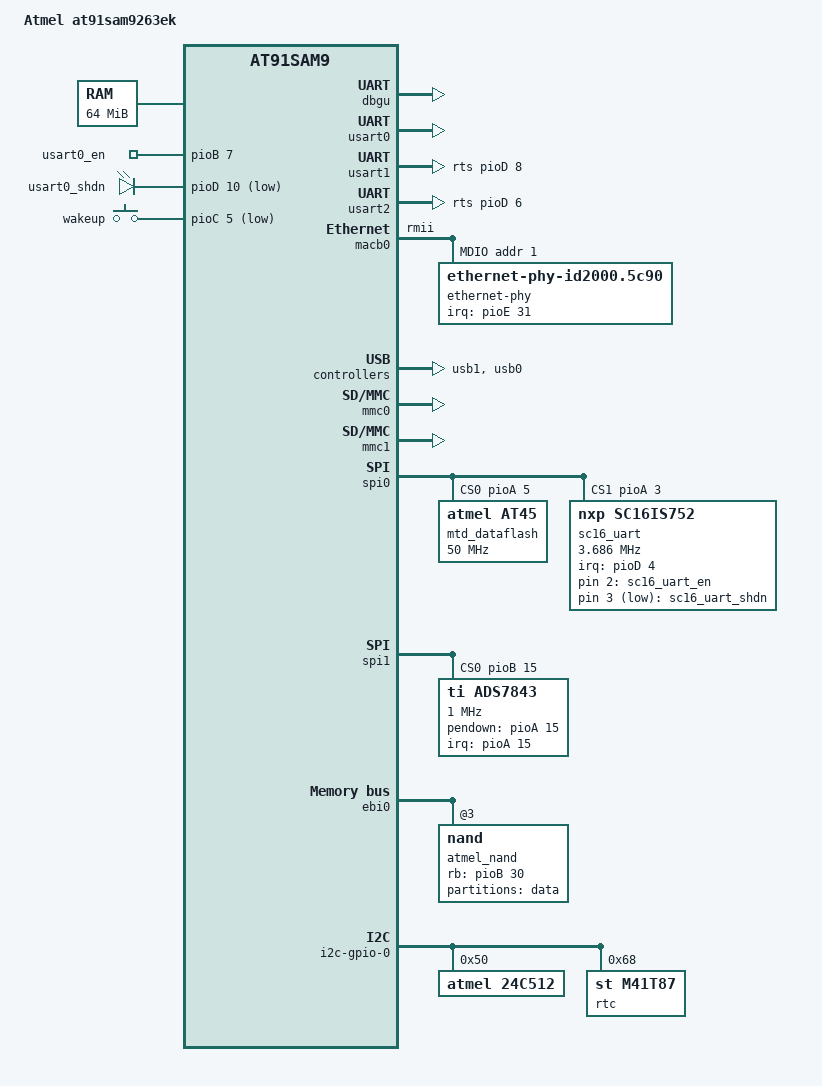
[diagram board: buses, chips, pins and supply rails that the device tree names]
// SPDX-License-Identifier: GPL-2.0-only
/*
 * at91sam9263ek.dts - Device Tree file for Atmel at91sam9263 reference board
 *
 *  Copyright (C) 2012 Jean-Christophe PLAGNIOL-VILLARD <plagnioj@jcrosoft.com>
 */
/dts-v1/;
#include "at91sam9263.dtsi"

/ {
	model = "Atmel at91sam9263ek";
	compatible = "atmel,at91sam9263ek", "atmel,at91sam9263", "atmel,at91sam9";

	chosen {
		bootargs = "mem=64M root=/dev/mtdblock5 rw rootfstype=ubifs";
		stdout-path = "serial0:115200n8";
	};

	memory@20000000 {
		reg = <0x20000000 0x4000000>;
	};

	clocks {
		slow_xtal {
			clock-frequency = <32768>;
		};

		main_xtal {
			clock-frequency = <18432000>;
		};
	};

	ahb {
		apb {
			dbgu: serial@ffffee00 {
				status = "okay";
			};

			tcb0: timer@fff7c000 {
				timer@0 {
					compatible = "atmel,tcb-timer";
					reg = <0>, <1>;
				};

				timer@2 {
					compatible = "atmel,tcb-timer";
					reg = <2>;
				};
			};

			usart0: serial@fff8c000 {
				pinctrl-0 = <
					&pinctrl_usart0
					&pinctrl_usart0_rts
					&pinctrl_usart0_cts>;
				status = "okay";
			};

			usart1: serial@fff90000 {
				pinctrl-0 = <
					&pinctrl_usart1
					&pinctrl_usart1_rts>;
				rts-gpios = <&pioD 8 GPIO_ACTIVE_HIGH>;
				linux,rs485-enabled-at-boot-time;
				status = "okay";
			};

			usart2: serial@fff94000 {
				pinctrl-0 = <
					&pinctrl_usart2
					&pinctrl_usart2_rts>;
				rts-gpios = <&pioD 6 GPIO_ACTIVE_HIGH>;
				linux,rs485-enabled-at-boot-time;
				status = "okay";
			};
			macb0: ethernet@fffbc000 {
				phy-mode = "rmii";
				status = "okay";

				mdio {
					#address-cells = <1>;
					#size-cells = <0>;

					ethernet-phy@1 {
						reg = <1>;
						compatible = "ethernet-phy-id2000.5c90";
						interrupt-parent = <&pioE>;
						interrupts = <31 IRQ_TYPE_EDGE_FALLING>;
					};
				};
			};

			usb1: gadget@fff78000 {
				atmel,vbus-gpio = <&pioA 25 GPIO_ACTIVE_HIGH>;
				status = "okay";
			};

			mmc0: mmc@fff80000 {
				pinctrl-0 = <
					&pinctrl_board_mmc0
					&pinctrl_mmc0_clk
					&pinctrl_mmc0_slot1_cmd_dat0
					&pinctrl_mmc0_slot1_dat1_3>;
				status = "okay";
				slot@1 {
					reg = <1>;
					bus-width = <4>;
					cd-gpios = <&pioA 21 GPIO_ACTIVE_LOW>;
				};
			};

			pinctrl@fffff200 {
				mmc0 {
					pinctrl_board_mmc0: mmc0-board {
						atmel,pins =
							<AT91_PIOA 21 AT91_PERIPH_GPIO AT91_PINCTRL_PULL_UP_DEGLITCH>;	/* PA21 gpio CD pin pull up and deglitch */
					};
				};

				mmc1 {
					pinctrl_board_mmc1: mmc1-board {
						atmel,pins =
							<AT91_PIOE 22 AT91_PERIPH_GPIO AT91_PINCTRL_PULL_UP_DEGLITCH>;	/* PE22 gpio CD pin pull up and deglitch */
					};
				};

				spi1 {
					pinctrl_ads7843: ads7843-0 {
						atmel,pins =
							<AT91_PIOA 15 AT91_PERIPH_GPIO 0>;	/* PA15 IRQ1 pin */
					};
				};

				i2c-gpio-0 {
					pinctrl_wd_aux: wd-0 {
						atmel,pins =
							<AT91_PIOD 14 AT91_PERIPH_GPIO 0>;	/* PD14 WD output GPIO */
					};
				};
			};

			mmc1: mmc@fff84000 {
				pinctrl-0 = <
					&pinctrl_board_mmc1
					&pinctrl_mmc1_clk
					&pinctrl_mmc1_slot0_cmd_dat0
					&pinctrl_mmc1_slot0_dat1_3>;
				status = "okay";
				slot@0 {
					reg = <0>;
					bus-width = <4>;
					cd-gpios = <&pioE 22 GPIO_ACTIVE_LOW>;
				};
			};

			spi0: spi@fffa4000 {
				status = "okay";
				cs-gpios = <&pioA 5 0>, <&pioA 3 0>, <0>, <0>;
				mtd_dataflash@0 {
					compatible = "atmel,at45", "atmel,dataflash";
					spi-max-frequency = <50000000>;
					reg = <0>;
				};

				sc16_uart: sc16is750@1 {
					compatible = "nxp,sc16is752";
					reg = <1>;
					interrupt-parent = <&pioD>;
					interrupts = <4 IRQ_TYPE_EDGE_FALLING>;
					clock-frequency = <3686400>;
					gpio-controller;
					#gpio-cells = <2>;
				};
			};

			spi1: spi@fffa8000 {
				status = "okay";
				cs-gpios = <&pioB 15 0>, <0>, <0>, <0>;
				ads7843@0 {
					reg = <0>;	/* CS0 */
					compatible = "ti,ads7843";
					pinctrl-0 = <&pinctrl_ads7843>;
					interrupt-parent = <&pioA>;
					interrupts = <15 IRQ_TYPE_EDGE_FALLING>;
					//interrupts = <31 IRQ_TYPE_EDGE_FALLING 0>;
					spi-max-frequency = <1000000>;
					pendown-gpio = <&pioA 15 GPIO_ACTIVE_HIGH>;
					ti,vref-mv = /bits/ 16 <3300>;
					/* ti,x-min = /bits/ 16 <0>;
					ti,x-max = /bits/ 16 <320>;
					ti,y-min = /bits/ 16 <0>;
					ti,y-max = /bits/ 16 <240>; */
					ti,x-plate-ohms = /bits/ 16 <600>;
					ti,pressure-max = /bits/ 16 <255>;
					/* ti,debounce-max = /bits/ 16 <10>;
					ti,debounce-tol = /bits/ 16 <3>;
					ti,debounce-rep = /bits/ 16 <1>;
					ti,settle-delay-usec = /bits/ 16 <150>;
					ti,penirq-recheck-delay-usecs = /bits/ 16 <1>; */

					wakeup-source;
				};
			};

			watchdog@fffffd40 {
				status = "okay";
			};
		};

		fb0: fb@700000 {
			display = <&display0>;
			status = "okay";

			display0: panel {
				bits-per-pixel = <16>;
				atmel,lcdcon-backlight;
				atmel,dmacon = <0x1>;
				atmel,lcdcon2 = <0x80009802>;
				atmel,guard-time = <1>;

				display-timings {
					native-mode = <&timing0>;
					timing0: timing0 {
						clock-frequency = <6500000>;
						hactive = <320>;
						vactive = <240>;
						hback-porch = <8>;
						hfront-porch = <20>;
						vback-porch = <16>;
						vfront-porch = <4>;
						hsync-len = <60>;
						vsync-len = <2>;
						pixelclk-active = <1>;
						hsync-active = <1>;
						vsync-active = <1>;
						de-active = <1>;
					};
				};
			};
		};

		ebi0: ebi@10000000 {
			status = "okay";

			nand_controller: nand-controller {
				status = "okay";
				pinctrl-0 = <&pinctrl_nand_cs &pinctrl_nand_rb>;
				pinctrl-names = "default";

				nand@3 {
					reg = <0x3 0x0 0x800000>;
					rb-gpios = <&pioB 30 GPIO_ACTIVE_HIGH>;
					cs-gpios = <&pioD 15 GPIO_ACTIVE_HIGH>;
					nand-bus-width = <8>;
					nand-ecc-mode = "soft";
					nand-on-flash-bbt;
					label = "atmel_nand";

					partitions {
						compatible = "fixed-partitions";
						#address-cells = <1>;
						#size-cells = <1>;

						data@0 {
							label = "data";
							reg = <0x0 0x10000000>;
						};
					};
				};
			};
		};

		usb0: ohci@a00000 {
			num-ports = <2>;
			status = "okay";
			atmel,vbus-gpio = <&pioB 1 GPIO_ACTIVE_LOW
					   &pioB 3 GPIO_ACTIVE_LOW
					  >;
			atmel,oc-gpio = <&pioB 0 GPIO_ACTIVE_LOW
					   &pioB 2 GPIO_ACTIVE_LOW
					  >;
		};
	};

	leds {
		compatible = "gpio-leds";

		usart0_en {
			label = "usart0_en";
			gpios = <&pioB 7 GPIO_ACTIVE_HIGH>;
		};

		usart0_shdn {
			label = "usart0_shdn";
			gpios = <&pioD 10 GPIO_ACTIVE_LOW>;
		};

		sc16_uart_en {
			label = "sc16_uart_en";
			gpios = <&sc16_uart 2 GPIO_ACTIVE_HIGH>;
		};

		sc16_uart_shdn {
			label = "sc16_uart_shdn";
			gpios = <&sc16_uart 3 GPIO_ACTIVE_LOW>;
		};
	};

	gpio_keys {
		compatible = "gpio-keys";

		wakeup {
			label = "wakeup";
			gpios = <&pioC 5 GPIO_ACTIVE_LOW>;
			linux,code = <272>;
			wakeup-source;
		};
	};

	i2c-gpio-0 {
		status = "okay";

		24c512@50 {
			compatible = "atmel,24c512";
			reg = <0x50>;
			pagesize = <128>;
		};

		rtc@68 {
			compatible = "st,m41t87";
			reg = <0x68>;
			pinctrl-0 = <&pinctrl_wd_aux>;
			pinctrl-names = "default";
			/* interrupt-parent = <&pioC>;
			interrupts = <5 IRQ_TYPE_EDGE_FALLING>; */

			clock {
				compatible = "fixed-clock";
				#clock-cells = <0>;
				clock-frequency = <32768>;
			};
		};
	};
};
